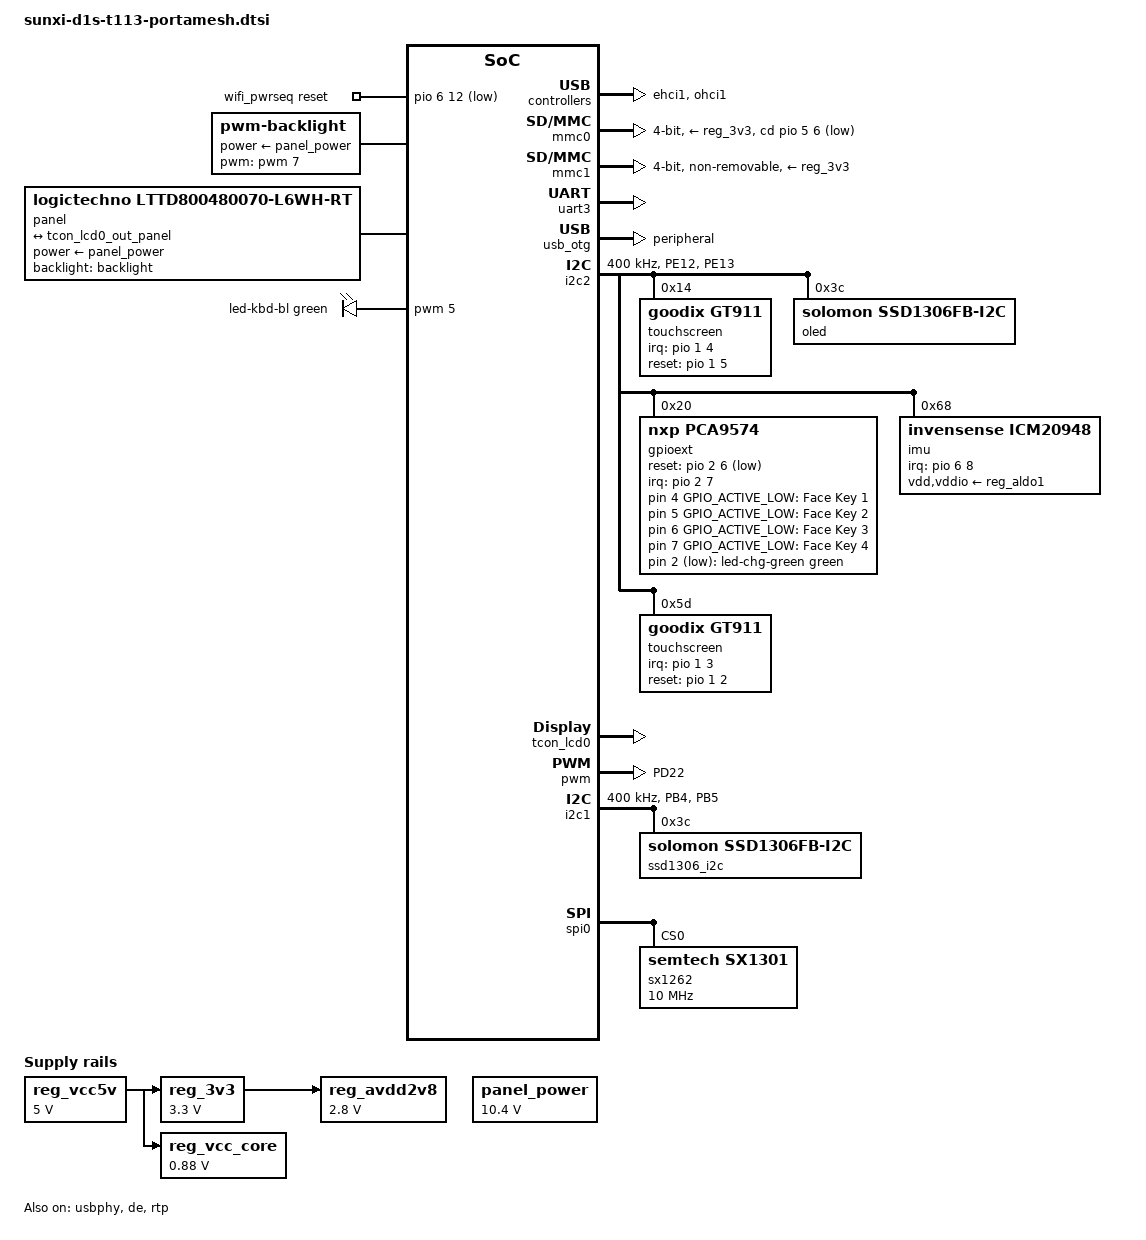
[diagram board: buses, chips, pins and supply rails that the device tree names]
// SPDX-License-Identifier: (GPL-2.0+ OR MIT)
// Copyright (C) 2022 Arm Ltd.
/*
 * Common peripherals and configurations for MangoPi MQ-R boards.
 */

#include <dt-bindings/gpio/gpio.h>
#include <dt-bindings/leds/common.h>
#include <dt-bindings/pwm/pwm.h>

/ {
	aliases {
		serial3 = &uart3;
	};

	chosen {
		stdout-path = "serial3:115200n8";
	};

	/*
        leds {
		compatible = "gpio-leds";

		led-0 {
			color = <LED_COLOR_ID_BLUE>;
			function = LED_FUNCTION_STATUS;
			gpios = <&pio 3 22 GPIO_ACTIVE_LOW>; // PD22
		};
	};
        */

	/* board wide 5V supply directly from the USB-C socket */
	reg_vcc5v: regulator-5v {
		compatible = "regulator-fixed";
		regulator-name = "vcc-5v";
		regulator-min-microvolt = <5000000>;
		regulator-max-microvolt = <5000000>;
		regulator-always-on;
	};

	/* SY8008 DC/DC regulator on the board */
	reg_3v3: regulator-3v3 {
		compatible = "regulator-fixed";
		regulator-name = "vcc-3v3";
		regulator-min-microvolt = <3300000>;
		regulator-max-microvolt = <3300000>;
		vin-supply = <&reg_vcc5v>;
	};

	/* SY8008 DC/DC regulator on the board, also supplying VDD-SYS */
	reg_vcc_core: regulator-core {
		compatible = "regulator-fixed";
		regulator-name = "vcc-core";
		regulator-min-microvolt = <880000>;
		regulator-max-microvolt = <880000>;
		vin-supply = <&reg_vcc5v>;
	};

	/* XC6206 LDO on the board */
	reg_avdd2v8: regulator-avdd {
		compatible = "regulator-fixed";
		regulator-name = "avdd2v8";
		regulator-min-microvolt = <2800000>;
		regulator-max-microvolt = <2800000>;
		vin-supply = <&reg_3v3>;
	};

	wifi_pwrseq: wifi-pwrseq {
		compatible = "mmc-pwrseq-simple";
		reset-gpios = <&pio 6 12 GPIO_ACTIVE_LOW>; /* PG12 */
	};

        backlight:backlight {
		compatible = "pwm-backlight";
		pwms = <&pwm 7 1000000 0>;    // 1.000.000 ns -> 1khz
		//           ^ ^
		//           | |_period in ns
		//           |_pwm channel
                //pwm-names = "lcd_backlight";
                brightness-levels = <  0   1   1   1   1   2   2   2
                                        2   3   3   3   3   4   4   4
                                        5   5   5   6   6   6   7   7
                                        8   8   8   9   9   9  10  10
                                        10  11  11  12  12  12  13  13
                                        14  14  14  15  15  16  16  17
                                        17  17  18  18  19  19  20  20
                                        21  21  21  22  22  23  23  24
                                        24  25  25  26  26  27  27  28
                                        28  29  30  30  31  31  32  32
                                        33  33  34  35  35  36  36  37
                                        38  38  39  39  40  41  41  42
                                        43  43  44  44  45  46  47  47
                                        48  49  49  50  51  51  52  53
                                        54  54  55  56  57  57  58  59
                                        60  61  61  62  63  64  65  65
                                        66  67  68  69  70  71  71  72
                                        73  74  75  76  77  78  79  80
                                        81  82  83  84  85  86  87  88
                                        89  90  91  92  93  94  95  96
                                        97  98  99 101 102 103 104 105
                                        106 108 109 110 111 112 114 115
                                        116 117 119 120 121 123 124 125
                                        127 128 129 131 132 133 135 136
                                        138 139 141 142 144 145 147 148
                                        150 151 153 154 156 157 159 161
                                        162 164 166 167 169 171 173 174
                                        176 178 180 181 183 185 187 189
                                        191 192 194 196 198 200 202 204
                                        206 208 210 212 214 216 219 221
                                        223 225 227 229 232 234 236 238
                                        241 242 244 246 248 250 253 255>;
		default-brightness-level = <128>;


		power-supply = <&panel_power>;
                /*
                enable-gpios = <&gpio 58 0>;
		post-pwm-on-delay-ms = <10>;
		pwm-off-delay-ms = <10>;
                */
	};


        panel_power:panel_power {
                compatible = "regulator-fixed";
                regulator-name = "panel-power";
                regulator-min-microvolt = <10400000>;
                regulator-max-microvolt = <10400000>;
                //gpio = <&pio 7 12 GPIO_ACTIVE_HIGH>; /* PH12 */
                //enable-active-high;
                regulator-always-on;
                regulator-boot-on;
        };

        panel:panel {
                port {
			panel_input: endpoint {
				remote-endpoint = <&tcon_lcd0_out_panel>;
			};
		};
	};
        // Boutons
        // TODO : marche pas car interrupt foireux ?
        gpio_keys: gpio-keys {
            //compatible = "gpio-keys"; // marche pas pour l'instant car interrupt foireux sur GPIO expander
            compatible = "gpio-keys-polled";
            poll-interval = <100>;  // en ms -> 10hz
            autorepeat;
            status = "okay";
            // Facade
            // Pour l'instant, les touches n'ont pas de rôle défini, donc on leur donne un keycode réservé pour les macros...
            // https://github.com/torvalds/linux/blob/master/include/uapi/linux/input-event-codes.h#L694
            face-key1 {
                    label = "Face Key 1";
                    linux,code = <0x290>;
                    gpios = <&gpioext 4 GPIO_ACTIVE_LOW GPIO_PULL_UP>;
                    //interrupt-parent = <&gpioext>;
                    //interrupts = <4 IRQ_TYPE_LEVEL_LOW>;
            };

            face-key2 {
                    label = "Face Key 2";
                    linux,code = <0x291>;
                    gpios = <&gpioext 5 GPIO_ACTIVE_LOW GPIO_PULL_UP>;
                    //interrupt-parent = <&gpioext>;
                    //interrupts = <5 IRQ_TYPE_LEVEL_LOW>;
            };

            face-key3 {
                    label = "Face Key 3";
                    linux,code = <0x292>;
                    gpios = <&gpioext 6 GPIO_ACTIVE_LOW GPIO_PULL_UP>;
                    //interrupt-parent = <&gpioext>;
                    //interrupts = <6 IRQ_TYPE_LEVEL_LOW>;
            };

            face-key4 {
                    label = "Face Key 4";
                    linux,code = <0x293>;
                    gpios = <&gpioext 7 GPIO_ACTIVE_LOW GPIO_PULL_UP>;
                    //interrupt-parent = <&gpioext>;
                    //interrupts = <7 IRQ_TYPE_LEVEL_LOW>;
            };
        };

        leds-pwm {
            compatible = "pwm-leds";

            // LEDs rétroéclairage touches à coté de l'écran
            led-kbd-bl {
                //label = "button-backlight"; // TODO : essayer de trouver un meilleur nom : https://www.kernel.org/doc/Documentation/leds/well-known-leds.txt
                color = <LED_COLOR_ID_GREEN>;   // TODO : changer en blanc si led blanche
                function = LED_FUNCTION_KBD_BACKLIGHT;
                pwms = <&pwm 5 10000 0>;    // 10.000 ns -> 100khz    // TODO : fréquence choisie au hasard. Voir si meilleur choix
                max-brightness = <255>;
                default-brightness-level = <128>;
                //default-state = "on";
            };

            // TODO : led rgb
        };

        leds {
            compatible = "gpio-leds";

            // Partie verte de la LED bicolore à coté du port USB. La partie rouge est controlée par le PMIC. (sensée indiquer la charge...)
            // NOTE : LED sur expander GPIO I2C -> changement lent et pas de PWM.
            led-chg-green {
                color = <LED_COLOR_ID_GREEN>;
                gpios = <&gpioext 2 GPIO_ACTIVE_LOW>;
                linux,default-trigger = "heartbeat";
                function = LED_FUNCTION_STATUS;//LED_FUNCTION_HEARTBEAT;
            };

            // TODO : led charge pmic
        };
};

&dcxo {
	clock-frequency = <24000000>;
};

&ehci1 {
	status = "okay";
};

&mmc0 {
	pinctrl-0 = <&mmc0_pins>;
	pinctrl-names = "default";
	vmmc-supply = <&reg_3v3>;
	cd-gpios = <&pio 5 6 GPIO_ACTIVE_LOW>;
	disable-wp;
	bus-width = <4>;
	status = "okay";
};

&mmc1 {
	pinctrl-0 = <&mmc1_pins>;
	pinctrl-names = "default";
	vmmc-supply = <&reg_3v3>;
	non-removable;
	bus-width = <4>;
	mmc-pwrseq = <&wifi_pwrseq>;
	status = "okay";
};

&ohci1 {
	status = "okay";
};

&pio {
	vcc-pb-supply = <&reg_3v3>;
	vcc-pd-supply = <&reg_3v3>;
	vcc-pe-supply = <&reg_avdd2v8>;
	vcc-pf-supply = <&reg_3v3>;
	vcc-pg-supply = <&reg_3v3>;
        // pwm
        pwm7_pin: pwm7-pin {
            pins = "PD22";
            function = "pwm7";
        };

        // pwm rétroéclairage boutons/keypad
        pwm5_pin: pwm5-pin {
            pins = "PF6";
            function = "pwm5";
        };
        i2c2_pins: i2c2-pins {
            pins = "PE12", "PE13";
            function = "i2c2";
        };

        i2c1_pins: i2c1-pins {
            pins = "PB4", "PB5";
            function = "i2c1";
        };
        /*
        gt911_irq_pin: gt911-irq-pin {
            pins = "PB3";
            function = "irq";
        };

        gt911_reset_pin: gt911-reset-pin {
            pins = "PB2";
            function = "gpio_out";
        };
        */
};

&uart3 {
	pinctrl-names = "default";
	pinctrl-0 = <&uart3_pb_pins>;
	status = "okay";
};

/* The USB-C socket has its CC pins pulled to GND, so is hardwired as a UFP. */
&usb_otg {
	dr_mode = "peripheral";
	status = "okay";
};

&usbphy {
	usb1_vbus-supply = <&reg_vcc5v>;
	status = "okay";
};
// I2C
&i2c2 {
    pinctrl-names = "default";
    pinctrl-0 = <&i2c2_pins>;
    status = "okay";
    clock-frequency = <400000>; // apparently the gt911 onyl works reliably at 400khz. (and more ?)
    // NOTE : vvv i don't think this should be here
    #address-cells = <1>;
    #size-cells = <0>;
    // capacitive touchscreen
    touchscreen@14 {
        //pinctrl-names = "default";
        //pinctrl-0 = <&gt911_irq_pin>, <&gt911_reset_pin>;
        compatible = "goodix,gt911";
        reg = <0x14>;
        interrupt-parent = <&pio>;
        interrupts = <1 4 IRQ_TYPE_EDGE_RISING>;    // PB 4
        irq-gpios = <&pio 1 4 GPIO_ACTIVE_HIGH>;    // PB 4
        reset-gpios = <&pio 1 5 GPIO_ACTIVE_HIGH>;  // PB 5 // ACTIVE HIGH ???
    };
    // small I2C OLED
    oled: ssd1306_i2c@3c {
        compatible = "solomon,ssd1306fb-i2c";
        reg = <0x3c>;
        solomon,height = <32>;
        solomon,width = <128>;
        solomon,com-seq;
        solomon,com-invdir;
        solomon,page-offset = <0>;
        solomon,prechargep1 = <2>;
        solomon,prechargep2 = <13>;
    };
    // GPIO extender
    gpioext: gpio@20 {
        compatible = "nxp,pca9574";
        reg = <0x20>;
        gpio-controller;
        #gpio-cells = <2>;
        interrupt-controller;
        #interrupt-cells = <2>;
        interrupt-parent = <&pio>;
        interrupts = <2 7 IRQ_TYPE_EDGE_FALLING>;   // PC 7
        reset-gpios = <&pio 2 6 GPIO_ACTIVE_LOW>;   // PC 6
        gpio-line-names =   "gps-reset_n", "gps-pwron", "chgled-green", "lcd-en",
                            "user-btn1_n", "user-btn2_n", "user-btn3_n", "user-btn4_n";
    };
    // IMU
    // TODO : add driver https://github.com/marcinbis/icm20948-mod
    imu: icm20948@68 {
        compatible = "invensense,icm20948";
        reg = <0x68>;
        interrupt-parent = <&pio>;
        interrupts = <6 8 IRQ_TYPE_EDGE_FALLING>;     // PG 8
        vdd-supply = <&reg_aldo1>;
        vddio-supply = <&reg_aldo1>;
    };

};

/* video */

&de {
	status = "okay";
};

&tcon_lcd0 {
	pinctrl-names = "default";
	pinctrl-0 = <&lcd_rgb666_pins>;
	status = "okay";
};

&tcon_lcd0_out {
	tcon_lcd0_out_panel: endpoint@0 {
		reg = <0>;
		remote-endpoint = <&panel_input>;
	};
};

// NOTE : le PWM n'est pas supporté pour sun20i. Un patch existe dans le mailing list du kernel, et est normalement appliqué par buildroot
//        Le patch se trouve dans le dossier "board/tmr0fr/portamesh_t113/patch/linux/".
&pwm {
      pinctrl-names = "default";
      pinctrl-0 = <&pwm7_pin>;//, <&pwm1_pin>;
                  <&pwm5_pin>;   // PF6
      status = "okay";
};

&panel {
        compatible = "logictechno,lttd800480070-l6wh-rt", "simple-panel";
        power-supply = <&panel_power>;
        backlight = <&backlight>;
};

// resistive touch screen
&rtp {
        allwinner,tp-sensitive-adjust = <0xf>;
        allwinner,filter-type = <0x1>;
        allwinner,ts-attached;
        status = "okay";
};

// I2C
&i2c2 {
    pinctrl-names = "default";
    pinctrl-0 = <&i2c2_pins>;
    status = "okay";
    clock-frequency = <400000>; // apparently the gt911 onyl works reliably at 400khz. (and more ?)
    // NOTE : vvv i don't think this should be here
    #address-cells = <1>;
    #size-cells = <0>;
    // capacitive touchscreen
    touchscreen@5d {
        //pinctrl-names = "default";
        //pinctrl-0 = <&gt911_irq_pin>, <&gt911_reset_pin>;
        compatible = "goodix,gt911";
        reg = <0x5d>;
        interrupt-parent = <&pio>;
        interrupts = <1 3 IRQ_TYPE_EDGE_RISING>;
        irq-gpios = <&pio 1 3 GPIO_ACTIVE_HIGH>;
        reset-gpios = <&pio 1 2 GPIO_ACTIVE_HIGH>;
    };
};

&i2c1 {
    pinctrl-names = "default";
    pinctrl-0 = <&i2c1_pins>;
    status = "okay";
    clock-frequency = <400000>; // oled go fast
    #address-cells = <1>;
    #size-cells = <0>;
    // 0.91" i2c oled
    ssd1306_i2c: oled@3c {
        compatible = "solomon,ssd1306fb-i2c";
        reg = <0x3c>;
        solomon,height = <32>;
        solomon,width = <128>;
        solomon,com-seq;
        solomon,com-invdir;
        solomon,page-offset = <0>;
        solomon,prechargep1 = <2>;
        solomon,prechargep2 = <13>;
    };
};

&spi0 {
	pinctrl-names = "default";
	pinctrl-0 = <&spi0_pins>;
	status = "okay";

	sx1262@0 {
                compatible = "semtech,sx1301";
                // retarded kernel devs don't think having an uncommitted spi port on a board is usefull, so "linux,spidev" doesn't work anymore.
                // "semtech,sx1301" is equiavelent to "linux,spidev" and appears as /dev/spidev0.0
                // https://elixir.bootlin.com/linux/v6.13.4/source/drivers/spi/spidev.c#L741
		//compatible = "linux,spidev";
		reg = <0>; /* CS #0 */
		spi-max-frequency = <10000000>;
	};
};

